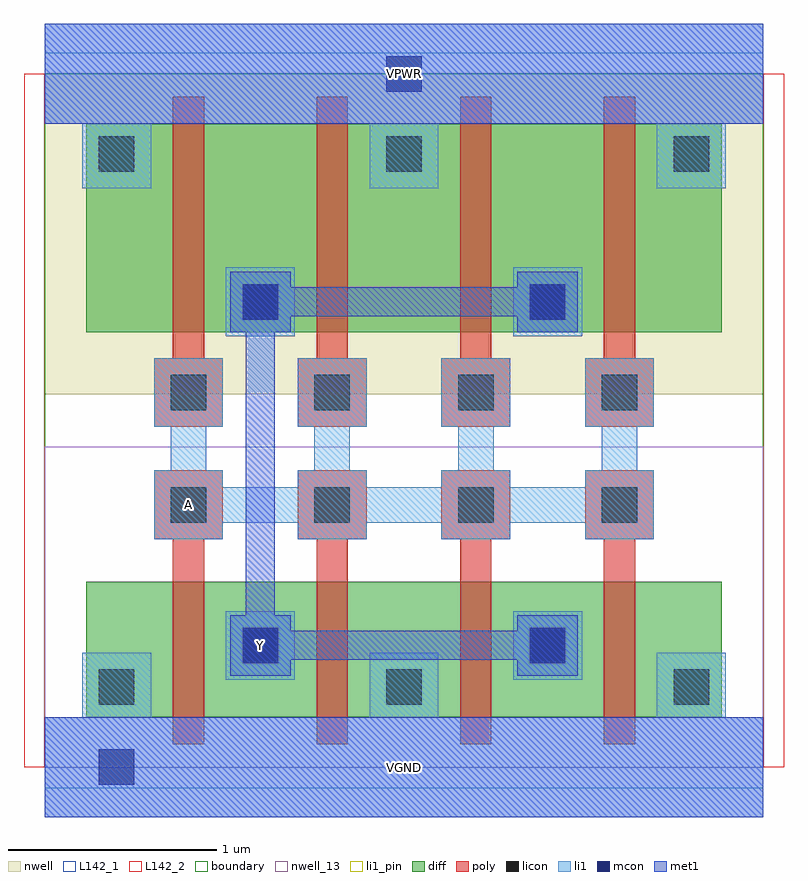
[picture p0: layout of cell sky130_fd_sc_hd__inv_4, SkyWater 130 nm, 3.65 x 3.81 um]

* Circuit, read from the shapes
.subckt sky130_fd_sc_hd__inv_4 A VGND VPWR Y
XM1 Y A VGND VSUBS sky130_fd_pr__nfet_01v8 w=0.65 l=0.15 m=4
XM2 Y A VPWR n1 sky130_fd_pr__pfet_01v8 w=1 l=0.15 m=4
.ends

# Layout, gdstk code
import gdstk
lib = gdstk.Library(unit=1e-6, precision=1e-09)
def R(c, l, rs):  # rectangles x0, y0, x1, y1
    for r in rs: c.add(gdstk.rectangle(r[:2], r[2:], *l))
def A(c, l, x, y, w, h, nx, ny, dx, dy):  # array of equal rectangles
    R(c, l, [(x+i*dx, y+j*dy, x+i*dx+w, y+j*dy+h) for i in range(nx) for j in range(ny)])
def P(c, l, *ps):  # polygons
    for p in ps: c.add(gdstk.Polygon(p, *l))
nwell_13 = (64, 13)
nwell = (64, 20)
diff = (65, 20)
poly = (66, 20)
licon = (66, 44)
li1_pin = (67, 16)
li1 = (67, 20)
mcon = (67, 44)
met1 = (68, 20)
L142_1 = (142, 1)
L142_2 = (142, 2)
boundary = (235, 4)

sky130_fd_sc_hd__inv_4 = lib.new_cell('sky130_fd_sc_hd__inv_4')
R(sky130_fd_sc_hd__inv_4, nwell_13, [(0,0,3.45,1.54)])
R(sky130_fd_sc_hd__inv_4, nwell, [(0,1.79,3.45,3.33)])
A(sky130_fd_sc_hd__inv_4, diff, 0.615, 0.24, 0.69, 0.65, 3, 1, 0.69, 0)
A(sky130_fd_sc_hd__inv_4, diff, 0.615, 2.09, 0.69, 1, 3, 1, 0.69, 0)
R(sky130_fd_sc_hd__inv_4, diff, [(0.2,0.24,3.25,0.89), (0.2,0.24,0.615,0.89), (2.685,0.24,3.25,0.89), (0.2,2.09,3.25,3.09), (0.2,2.09,0.615,3.09), (2.685,2.09,3.25,3.09)])
P(sky130_fd_sc_hd__inv_4, poly, [(0.615,0.11),(0.615,1.095),(0.525,1.095),(0.525,1.425),(0.855,1.425),(0.855,1.095),(0.765,1.095),(0.765,0.11)],
  [(1.305,0.11),(1.305,1.095),(1.215,1.095),(1.215,1.425),(1.545,1.425),(1.545,1.095),(1.455,1.095),(1.455,0.11)],
  [(1.995,0.11),(1.995,1.095),(1.905,1.095),(1.905,1.425),(2.235,1.425),(2.235,1.095),(2.145,1.095),(2.145,0.11)],
  [(2.685,0.11),(2.685,1.095),(2.595,1.095),(2.595,1.425),(2.925,1.425),(2.925,1.095),(2.835,1.095),(2.835,0.11)],
  [(0.525,1.635),(0.525,1.965),(0.615,1.965),(0.615,3.22),(0.765,3.22),(0.765,1.965),(0.855,1.965),(0.855,1.635)],
  [(1.215,1.635),(1.215,1.965),(1.305,1.965),(1.305,3.22),(1.455,3.22),(1.455,1.965),(1.545,1.965),(1.545,1.635)],
  [(1.905,1.635),(1.905,1.965),(1.995,1.965),(1.995,3.22),(2.145,3.22),(2.145,1.965),(2.235,1.965),(2.235,1.635)],
  [(2.595,1.635),(2.595,1.965),(2.685,1.965),(2.685,3.22),(2.835,3.22),(2.835,1.965),(2.925,1.965),(2.925,1.635)])
A(sky130_fd_sc_hd__inv_4, licon, 0.26, 0.3, 0.17, 0.17, 3, 2, 1.38, 2.56)
A(sky130_fd_sc_hd__inv_4, licon, 0.605, 1.175, 0.17, 0.17, 4, 2, 0.69, 0.54)
R(sky130_fd_sc_hd__inv_4, licon, [(0.95,0.5,1.12,0.67), (2.33,0.5,2.5,0.67), (0.95,2.15,1.12,2.32), (2.33,2.15,2.5,2.32)])
R(sky130_fd_sc_hd__inv_4, li1_pin, [(0,-0.24,3.45,0.24), (0.87,0.42,1.2,0.75), (0,3.09,3.45,3.57)])
P(sky130_fd_sc_hd__inv_4, li1_pin, [(0.525,1.095),(0.525,1.425),(0.605,1.425),(0.605,1.635),(0.525,1.635),(0.525,1.965),(0.855,1.965),(0.855,1.635),(0.775,1.635),(0.775,1.425),(0.855,1.425),(0.855,1.345),(1.215,1.345),(1.215,1.425),(1.295,1.425),(1.295,1.635),(1.215,1.635),(1.215,1.965),(1.545,1.965),(1.545,1.635),(1.465,1.635),(1.465,1.425),(1.545,1.425),(1.545,1.345),(1.905,1.345),(1.905,1.425),(1.985,1.425),(1.985,1.635),(1.905,1.635),(1.905,1.965),(2.235,1.965),(2.235,1.635),(2.155,1.635),(2.155,1.425),(2.235,1.425),(2.235,1.345),(2.595,1.345),(2.595,1.425),(2.675,1.425),(2.675,1.635),(2.595,1.635),(2.595,1.965),(2.925,1.965),(2.925,1.635),(2.845,1.635),(2.845,1.425),(2.925,1.425),(2.925,1.095),(2.595,1.095),(2.595,1.175),(2.235,1.175),(2.235,1.095),(1.905,1.095),(1.905,1.175),(1.545,1.175),(1.545,1.095),(1.215,1.095),(1.215,1.175),(0.855,1.175),(0.855,1.095)])
R(sky130_fd_sc_hd__inv_4, li1, [(0.87,0.42,1.2,0.75), (2.25,0.42,2.58,0.75), (0.87,2.07,1.2,2.4), (2.25,2.07,2.58,2.4)])
P(sky130_fd_sc_hd__inv_4, li1, [(0.18,2.78),(0.18,3.09),(0,3.09),(0,3.57),(3.45,3.57),(3.45,3.09),(3.27,3.09),(3.27,2.78),(2.94,2.78),(2.94,3.09),(1.89,3.09),(1.89,2.78),(1.56,2.78),(1.56,3.09),(0.51,3.09),(0.51,2.78)],
  [(0,-0.24),(0,0.24),(0.18,0.24),(0.18,0.55),(0.51,0.55),(0.51,0.24),(1.56,0.24),(1.56,0.55),(1.89,0.55),(1.89,0.24),(2.94,0.24),(2.94,0.55),(3.27,0.55),(3.27,0.24),(3.45,0.24),(3.45,-0.24)],
  [(0.525,1.095),(0.525,1.425),(0.605,1.425),(0.605,1.635),(0.525,1.635),(0.525,1.965),(0.855,1.965),(0.855,1.635),(0.775,1.635),(0.775,1.425),(0.855,1.425),(0.855,1.345),(1.215,1.345),(1.215,1.425),(1.295,1.425),(1.295,1.635),(1.215,1.635),(1.215,1.965),(1.545,1.965),(1.545,1.635),(1.465,1.635),(1.465,1.425),(1.545,1.425),(1.545,1.345),(1.905,1.345),(1.905,1.425),(1.985,1.425),(1.985,1.635),(1.905,1.635),(1.905,1.965),(2.235,1.965),(2.235,1.635),(2.155,1.635),(2.155,1.425),(2.235,1.425),(2.235,1.345),(2.595,1.345),(2.595,1.425),(2.675,1.425),(2.675,1.635),(2.595,1.635),(2.595,1.965),(2.925,1.965),(2.925,1.635),(2.845,1.635),(2.845,1.425),(2.925,1.425),(2.925,1.095),(2.595,1.095),(2.595,1.175),(2.235,1.175),(2.235,1.095),(1.905,1.095),(1.905,1.175),(1.545,1.175),(1.545,1.095),(1.215,1.095),(1.215,1.175),(0.855,1.175),(0.855,1.095)])
R(sky130_fd_sc_hd__inv_4, mcon, [(0.26,-0.085,0.43,0.085), (0.95,0.5,1.12,0.67), (2.33,0.5,2.5,0.67), (0.95,2.15,1.12,2.32), (2.33,2.15,2.5,2.32), (1.64,3.245,1.81,3.415)])
R(sky130_fd_sc_hd__inv_4, met1, [(0,-0.24,3.45,0.24), (0,3.09,3.45,3.57)])
P(sky130_fd_sc_hd__inv_4, met1, [(0.89,0.44),(0.89,0.73),(0.965,0.73),(0.965,2.09),(0.89,2.09),(0.89,2.38),(1.18,2.38),(1.18,2.305),(2.27,2.305),(2.27,2.38),(2.56,2.38),(2.56,2.09),(2.27,2.09),(2.27,2.165),(1.18,2.165),(1.18,2.09),(1.105,2.09),(1.105,0.73),(1.18,0.73),(1.18,0.655),(2.27,0.655),(2.27,0.73),(2.56,0.73),(2.56,0.44),(2.27,0.44),(2.27,0.515),(1.18,0.515),(1.18,0.44)])
R(sky130_fd_sc_hd__inv_4, L142_1, [(0,-0.1,3.45,0), (0,3.33,3.45,3.43)])
R(sky130_fd_sc_hd__inv_4, L142_2, [(-0.1,0,0,3.33), (3.45,0,3.55,3.33)])
R(sky130_fd_sc_hd__inv_4, boundary, [(0,0,3.45,3.33)])
sky130_fd_sc_hd__inv_4.add(gdstk.Label('Y', (1.035,0.585), layer=67, texttype=5))
sky130_fd_sc_hd__inv_4.add(gdstk.Label('A', (0.69,1.26), layer=67, texttype=5))
sky130_fd_sc_hd__inv_4.add(gdstk.Label('VGND', (1.725,0), layer=67, texttype=5))
sky130_fd_sc_hd__inv_4.add(gdstk.Label('VPWR', (1.725,3.33), layer=67, texttype=5))
sky130_fd_sc_hd__inv_4.add(gdstk.Label('VGND', (1.725,0), layer=68, texttype=5))
sky130_fd_sc_hd__inv_4.add(gdstk.Label('VPWR', (1.725,3.33), layer=68, texttype=5))

lib.write_gds('sky130_fd_sc_hd__inv_4.gds')
